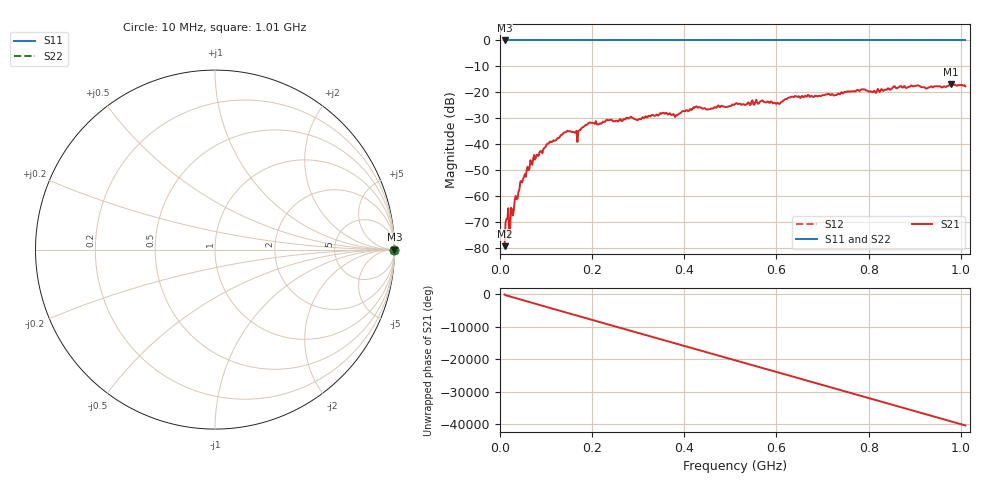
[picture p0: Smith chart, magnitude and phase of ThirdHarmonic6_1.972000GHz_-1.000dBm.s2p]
! 8/16/2025 11:43:30 PM
! C:\ANRITSUVNA\TEMP\TEMP.S2P
! CHANNEL.1
! TR.MEASUREMENT
! RAW.DATA
! RF.CORRECTION.OFF
! AVERAGING.OFF
! IF.BANDWIDTH: 5KHZ
! SWEEPTYPE:  FREQ.SWEEP(Linear)
! Reference Plane Port Info
! PORT:  PORT1  PORT2
! DISTANCE:  0  m  0  m
! TIME:  0  s  0  s
! PHASE.OFFSET:  0  deg.  0  deg.
! LOSS:  0  dB  0  dB
! REF.LOSS:  0  dB  0  dB
! REF.FREQ:  0  Hz  0  Hz
! Power Info
! POWER:  -20  dBm  -20  dBm
! EFF.POWER:  -20  dBm  -20  dBm
! SOURCE.ATTEN:  0  dB  0  dB
! TEST.ATTEN:  0  dB  0  dB
# GHZ S RI R 50.0
! FREQ.GHZ  S11RE  S11IM  S21RE  S21IM  S12RE  S12IM  S22RE  S22IM
!; PortSelection: Port_12
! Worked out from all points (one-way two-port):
!   501 points, 10 MHz to 1.01 GHz, reference 50 ohm
!   highest |S21| = -16.94 dB at 978 MHz (marker M1); lowest = -79.1 dB at 10 MHz (marker M2)
!   lowest |S11| = 0.0 dB at 10 MHz (marker M3)
!   |S11| at or under -10 dB: nowhere
!   |S22| runs from 0.0 to 0.0 dB; largest |S21 - S12| = 1.1
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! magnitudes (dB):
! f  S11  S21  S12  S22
! 10 MHz  0.0  -79.1  0.0  0.0
! 14 MHz  0.0  -68.7  0.0  0.0
! 24 MHz  0.0  -64.3  0.0  0.0
! 28 MHz  0.0  -67.3  0.0  0.0
! 44 MHz  0.0  -54.5  0.0  0.0
! 70 MHz  0.0  -47.8  0.0  0.0
! 106 MHz  0.0  -39.6  0.0  0.0
! 142 MHz  0.0  -35.4  0.0  0.0
! 166 MHz  0.0  -34.8  0.0  0.0
! 178 MHz  0.0  -33.6  0.0  0.0
! 196 MHz  0.0  -31.6  0.0  0.0
! 344 MHz  0.0  -28.9  0.0  0.0
! 382 MHz  0.0  -28.7  0.0  0.0
! 424 MHz  0.0  -25.6  0.0  0.0
! 452 MHz  0.0  -26.5  0.0  0.0
! 510 MHz  0.0  -24.5  0.0  0.0
! 604 MHz  0.0  -24.1  0.0  0.0
! 630 MHz  0.0  -21.9  0.0  0.0
! 678 MHz  0.0  -21.6  0.0  0.0
! 844 MHz  0.0  -18.5  0.0  0.0
! 978 MHz  0.0  -16.9  0.0  0.0
! 1.01 GHz  0.0  -17.6  0.0  0.0
